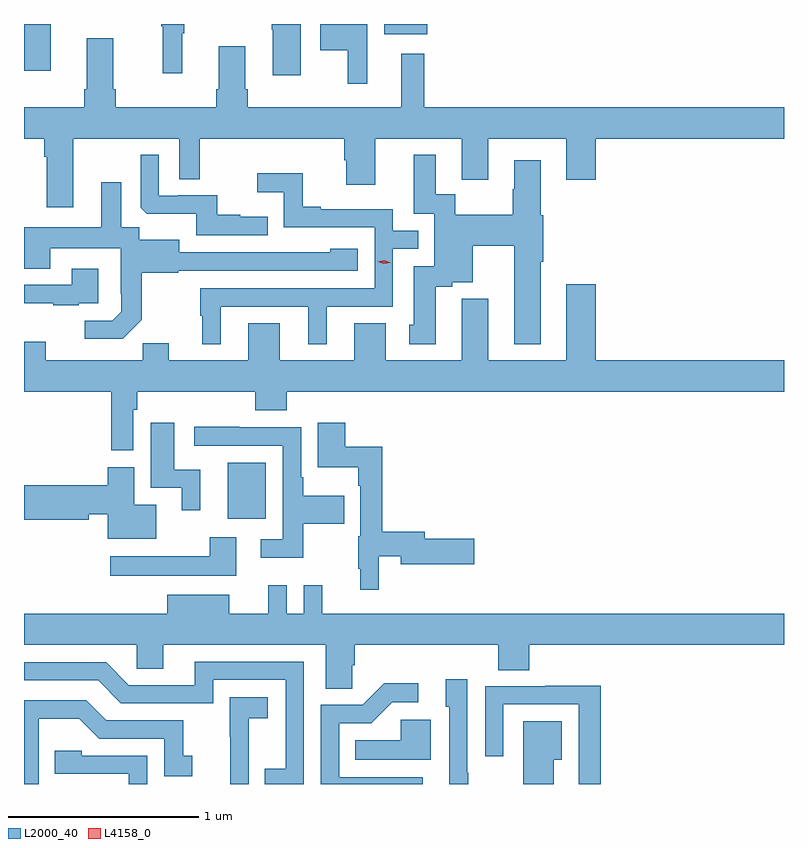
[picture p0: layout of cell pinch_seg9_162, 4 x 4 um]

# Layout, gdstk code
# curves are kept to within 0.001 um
import gdstk
lib = gdstk.Library(unit=1e-6, precision=1e-09)
def R(c, l, rs):  # rectangles x0, y0, x1, y1
    for r in rs: c.add(gdstk.rectangle(r[:2], r[2:], *l))
def P(c, l, *ps):  # polygons
    for p in ps: c.add(gdstk.Polygon(p, *l))
L2000_40 = (2000, 40)
L4158_0 = (4158, 0)

pinch_seg9_162 = lib.new_cell('pinch_seg9_162')
R(pinch_seg9_162, L2000_40, [(650.171,1203.743,650.371,1204.039), (649.098,1206.102,649.24,1206.347), (650.993,1206.293,651.22,1206.347)])
P(pinch_seg9_162, L2000_40, [(650.554,1206.347),(650.401,1206.347),(650.401,1206.316),(650.408,1206.316),(650.408,1206.078),(650.554,1206.078)],
  [(650.905,1206.347),(650.657,1206.347),(650.657,1206.209),(650.801,1206.209),(650.801,1206.033),(650.905,1206.033)],
  [(649.931,1206.299),(649.942,1206.299),(649.942,1206.347),(649.821,1206.347),(649.821,1206.336),(649.828,1206.336),(649.828,1206.087),(649.931,1206.087)],
  [(651.205,1206.19),(651.083,1206.19),(651.083,1205.908),(650.276,1205.908),(650.276,1206.004),(650.263,1206.004),(650.263,1206.229),(650.123,1206.229),(650.123,1206.004),(650.111,1206.004),(650.111,1205.908),(649.58,1205.908),(649.58,1206.004),(649.567,1206.004),(649.567,1206.271),(649.427,1206.271),(649.427,1206.004),(649.415,1206.004),(649.415,1205.908),(649.098,1205.908),(649.098,1205.744),(649.205,1205.744),(649.205,1205.648),(649.217,1205.648),(649.217,1205.382),(649.357,1205.382),(649.357,1205.744),(649.914,1205.744),(649.914,1205.53),(650.023,1205.53),(650.023,1205.744),(650.783,1205.744),(650.783,1205.631),(650.795,1205.631),(650.795,1205.502),(650.947,1205.502),(650.947,1205.744),(651.401,1205.744),(651.401,1205.526),(651.541,1205.526),(651.541,1205.744),(651.953,1205.744),(651.953,1205.526),(652.106,1205.526),(652.106,1205.744),(653.098,1205.744),(653.098,1205.908),(651.205,1205.908)],
  [(650.381,1205.332),(650.237,1205.332),(650.237,1205.344),(650.114,1205.344),(650.114,1205.445),(649.906,1205.445),(649.906,1205.442),(649.806,1205.442),(649.806,1205.659),(649.713,1205.659),(649.713,1205.379),(649.745,1205.348),(650.004,1205.348),(650.004,1205.235),(650.381,1205.235)],
  [(651.817,1205.096),(651.83,1205.096),(651.83,1205.34),(651.817,1205.34),(651.817,1205.629),(651.677,1205.629),(651.677,1205.478),(651.67,1205.478),(651.67,1205.344),(651.367,1205.344),(651.367,1205.45),(651.265,1205.45),(651.265,1205.659),(651.149,1205.659),(651.149,1205.349),(651.258,1205.349),(651.258,1205.073),(651.149,1205.073),(651.149,1204.764),(651.125,1204.764),(651.125,1204.662),(651.265,1204.662),(651.265,1204.965),(651.351,1204.965),(651.351,1204.988),(651.46,1204.988),(651.46,1205.18),(651.677,1205.18),(651.677,1204.661),(651.817,1204.661)],
  [(650.134,1204.86),(650.594,1204.86),(650.594,1204.661),(650.692,1204.661),(650.692,1204.86),(651.039,1204.86),(651.039,1205.163),(651.172,1205.163),(651.172,1205.259),(651.039,1205.259),(651.039,1205.373),(650.659,1205.373),(650.659,1205.386),(650.565,1205.386),(650.565,1205.561),(650.325,1205.561),(650.325,1205.462),(650.466,1205.462),(650.466,1205.277),(650.943,1205.277),(650.943,1204.956),(650.025,1204.956),(650.025,1204.812),(650.036,1204.812),(650.036,1204.661),(650.134,1204.661)],
  [(649.719,1204.791),(649.719,1205.037),(649.911,1205.037),(649.911,1205.049),(650.854,1205.049),(650.854,1205.164),(650.709,1205.164),(650.709,1205.146),(649.915,1205.145),(649.915,1205.212),(649.704,1205.212),(649.704,1205.276),(649.609,1205.276),(649.609,1205.515),(649.505,1205.515),(649.505,1205.278),(649.098,1205.278),(649.098,1205.059),(649.237,1205.059),(649.237,1205.168),(649.608,1205.168),(649.608,1204.927),(649.61,1204.927),(649.61,1204.832),(649.563,1204.785),(649.419,1204.785),(649.419,1204.691),(649.619,1204.691)],
  [(649.385,1204.878),(649.489,1204.878),(649.489,1205.059),(649.349,1205.059),(649.349,1204.974),(649.098,1204.974),(649.098,1204.877),(649.253,1204.877),(649.253,1204.866),(649.385,1204.866)],
  [(649.674,1204.316),(649.694,1204.316),(649.694,1204.412),(650.315,1204.412),(650.315,1204.313),(650.48,1204.313),(650.48,1204.412),(653.098,1204.412),(653.098,1204.576),(652.106,1204.576),(652.106,1204.978),(651.953,1204.978),(651.953,1204.576),(651.541,1204.576),(651.541,1204.9),(651.401,1204.9),(651.401,1204.576),(651.001,1204.576),(651.001,1204.771),(650.837,1204.771),(650.837,1204.576),(650.443,1204.576),(650.443,1204.771),(650.279,1204.771),(650.279,1204.576),(649.861,1204.576),(649.861,1204.667),(649.723,1204.667),(649.723,1204.576),(649.213,1204.576),(649.213,1204.675),(649.098,1204.675),(649.098,1204.412),(649.558,1204.412),(649.558,1204.104),(649.674,1204.104)],
  [(650.026,1204.002),(649.888,1204.002),(649.888,1204.249),(649.766,1204.249),(649.766,1203.906),(649.928,1203.906),(649.928,1203.789),(650.026,1203.789)],
  [(650.964,1203.546),(651.08,1203.546),(651.08,1203.503),(651.469,1203.503),(651.469,1203.638),(651.208,1203.638),(651.208,1203.674),(650.984,1203.674),(650.984,1204.123),(650.789,1204.123),(650.789,1204.249),(650.645,1204.249),(650.645,1204.013),(650.856,1204.013),(650.856,1203.917),(650.868,1203.917),(650.868,1203.651),(650.856,1203.651),(650.856,1203.481),(650.867,1203.481),(650.867,1203.369),(650.964,1203.369)],
  [(650.569,1203.718),(650.783,1203.718),(650.783,1203.865),(650.569,1203.865),(650.569,1203.961),(650.556,1203.961),(650.556,1204.224),(650.231,1204.224),(650.231,1204.226),(649.995,1204.226),(649.995,1204.128),(650.46,1204.128),(650.46,1203.636),(650.343,1203.636),(650.343,1203.539),(650.569,1203.539)],
  [(649.795,1203.817),(649.678,1203.817),(649.678,1204.015),(649.538,1204.015),(649.538,1203.92),(649.098,1203.92),(649.098,1203.737),(649.44,1203.737),(649.44,1203.767),(649.538,1203.767),(649.538,1203.638),(649.795,1203.638)],
  [(650.215,1203.646),(650.075,1203.646),(650.075,1203.547),(649.551,1203.547),(649.551,1203.443),(650.215,1203.443)],
  [(650.826,1202.971),(650.84,1202.971),(650.84,1203.08),(651.593,1203.08),(651.593,1202.947),(651.758,1202.947),(651.758,1203.08),(653.098,1203.08),(653.098,1203.244),(650.669,1203.244),(650.669,1203.394),(650.571,1203.394),(650.571,1203.244),(650.481,1203.244),(650.481,1203.394),(650.384,1203.394),(650.384,1203.244),(650.179,1203.244),(650.179,1203.343),(649.853,1203.343),(649.853,1203.244),(649.098,1203.244),(649.098,1203.08),(649.692,1203.08),(649.692,1202.953),(649.831,1202.953),(649.831,1203.08),(650.687,1203.08),(650.687,1202.848),(650.826,1202.848)],
  [(650.571,1202.991),(649.997,1202.991),(649.997,1202.868),(649.65,1202.868),(649.53,1202.988),(649.098,1202.988),(649.098,1202.892),(649.488,1202.892),(649.608,1202.772),(650.094,1202.772),(650.094,1202.895),(650.475,1202.895),(650.475,1202.426),(650.365,1202.426),(650.365,1202.347),(650.571,1202.347)],
  [(651.435,1202.405),(651.432,1202.405),(651.432,1202.899),(651.317,1202.899),(651.317,1202.754),(651.336,1202.754),(651.336,1202.435),(651.335,1202.435),(651.335,1202.347),(651.435,1202.347)],
  [(651.196,1202.382),(650.757,1202.382),(650.757,1202.667),(650.926,1202.667),(651.037,1202.778),(651.172,1202.778),(651.172,1202.876),(650.993,1202.876),(650.88,1202.763),(650.661,1202.763),(650.661,1202.347),(651.196,1202.347)],
  [(652.133,1202.864),(651.841,1202.864),(651.841,1202.862),(651.525,1202.862),(651.525,1202.493),(651.621,1202.493),(651.621,1202.766),(652.017,1202.766),(652.017,1202.347),(652.133,1202.347)],
  [(650.28,1202.465),(650.282,1202.465),(650.282,1202.693),(650.38,1202.693),(650.38,1202.803),(650.182,1202.803),(650.182,1202.597),(650.183,1202.597),(650.183,1202.347),(650.28,1202.347)],
  [(649.176,1202.69),(649.39,1202.69),(649.494,1202.586),(649.836,1202.586),(649.836,1202.388),(649.984,1202.388),(649.984,1202.497),(649.935,1202.497),(649.935,1202.682),(649.531,1202.682),(649.426,1202.787),(649.098,1202.787),(649.098,1202.347),(649.176,1202.347)],
  [(651.238,1202.686),(651.081,1202.686),(651.081,1202.578),(650.842,1202.578),(650.842,1202.474),(651.238,1202.474)],
  [(651.886,1202.474),(651.928,1202.474),(651.928,1202.677),(651.725,1202.677),(651.725,1202.347),(651.886,1202.347)],
  [(649.746,1202.496),(649.401,1202.496),(649.401,1202.523),(649.261,1202.523),(649.261,1202.4),(649.65,1202.4),(649.65,1202.347),(649.746,1202.347)])
P(pinch_seg9_162, L4158_0, [(650.992,1205.084),(650.959,1205.096),(650.959,1205.096),(650.959,1205.096),(650.994,1205.104),(651.027,1205.091),(651.028,1205.091),(651.027,1205.091)])

lib.write_gds('pinch_seg9_162.gds')
